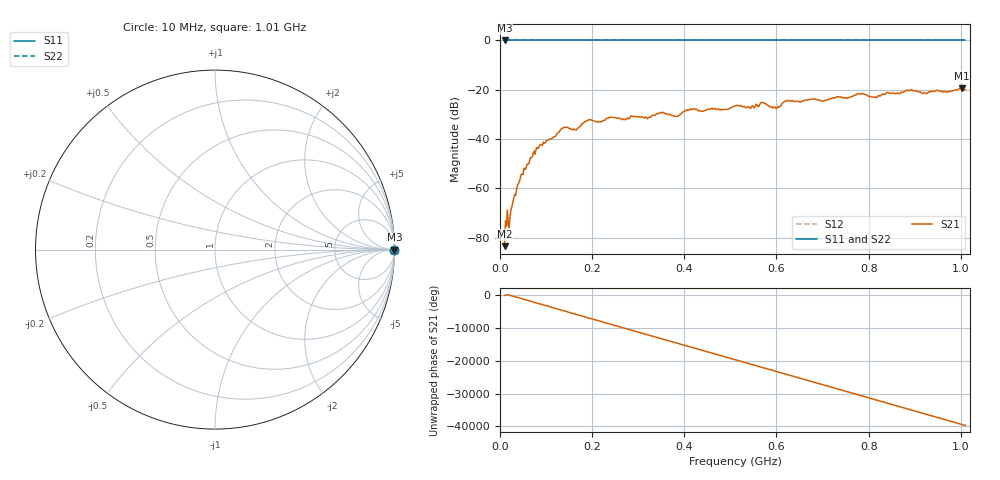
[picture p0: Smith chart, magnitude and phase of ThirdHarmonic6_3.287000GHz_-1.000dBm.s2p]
! 8/17/2025 10:12:48 AM
! C:\ANRITSUVNA\TEMP\TEMP.S2P
! CHANNEL.1
! TR.MEASUREMENT
! RAW.DATA
! RF.CORRECTION.OFF
! AVERAGING.OFF
! IF.BANDWIDTH: 5KHZ
! SWEEPTYPE:  FREQ.SWEEP(Linear)
! Reference Plane Port Info
! PORT:  PORT1  PORT2
! DISTANCE:  0  m  0  m
! TIME:  0  s  0  s
! PHASE.OFFSET:  0  deg.  0  deg.
! LOSS:  0  dB  0  dB
! REF.LOSS:  0  dB  0  dB
! REF.FREQ:  0  Hz  0  Hz
! Power Info
! POWER:  -20  dBm  -20  dBm
! EFF.POWER:  -20  dBm  -20  dBm
! SOURCE.ATTEN:  0  dB  0  dB
! TEST.ATTEN:  0  dB  0  dB
# GHZ S RI R 50.0
! FREQ.GHZ  S11RE  S11IM  S21RE  S21IM  S12RE  S12IM  S22RE  S22IM
!; PortSelection: Port_12
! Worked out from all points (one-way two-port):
!   501 points, 10 MHz to 1.01 GHz, reference 50 ohm
!   highest |S21| = -19.39 dB at 1.002 GHz (marker M1); lowest = -83.4 dB at 10 MHz (marker M2)
!   lowest |S11| = 0.0 dB at 10 MHz (marker M3)
!   |S11| at or under -10 dB: nowhere
!   |S22| runs from 0.0 to 0.0 dB; largest |S21 - S12| = 1.1
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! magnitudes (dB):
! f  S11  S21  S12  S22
! 10 MHz  0.0  -83.4  0.0  0.0
! 22 MHz  0.0  -70.9  0.0  0.0
! 28 MHz  0.0  -65.3  0.0  0.0
! 42 MHz  0.0  -57.3  0.0  0.0
! 76 MHz  0.0  -46.1  0.0  0.0
! 136 MHz  0.0  -35.6  0.0  0.0
! 162 MHz  0.0  -36.1  0.0  0.0
! 178 MHz  0.0  -33.7  0.0  0.0
! 194 MHz  0.0  -32.2  0.0  0.0
! 344 MHz  0.0  -29.7  0.0  0.0
! 382 MHz  0.0  -30.8  0.0  0.0
! 416 MHz  0.0  -28.0  0.0  0.0
! 510 MHz  0.0  -26.6  0.0  0.0
! 570 MHz  0.0  -25.2  0.0  0.0
! 596 MHz  0.0  -27.0  0.0  0.0
! 622 MHz  0.0  -24.5  0.0  0.0
! 678 MHz  0.0  -23.8  0.0  0.0
! 782 MHz  0.0  -21.7  0.0  0.0
! 814 MHz  0.0  -22.9  0.0  0.0
! 844 MHz  0.0  -21.3  0.0  0.0
! 1.002 GHz  0.0  -19.4  0.0  0.0
! 1.01 GHz  0.0  -20.0  0.0  0.0
